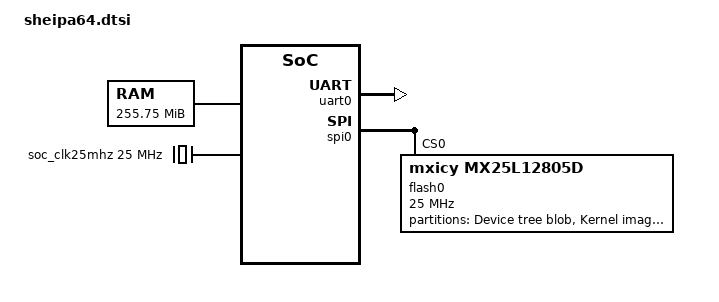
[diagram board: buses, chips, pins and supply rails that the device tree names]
/*
 * Realtek Semiconductor Corp.
 *
 * Device Tree Structure
 *
 * Tony Wu (tonywu@realtek.com)
 */

#include <dt-bindings/interrupt-controller/irq.h>

/ {
	/* skip 256KB memory occupied by sbi firmware */
	memory@80040000 {
		device_type = "memory";
		reg = <0x0 0x80040000 0x0 0xffc0000>;
	};

	clocks {
		soc_clk25mhz: oscillator {
			compatible = "fixed-clock";
			clock-output-names = "clk25mhz";
			clock-frequency = <25000000>;
			#clock-cells = <0>;
		};
	};

	ocp {
		compatible = "sheipa-bus", "simple-bus";
		#address-cells = <2>;
		#size-cells = <2>;
		ranges;

		plic0: interrupt-controller@01001000 {
			compatible = "realtek,plic-1.0.0";
			reg = <0x0 0x01001000 0x0 0x1000>;
			interrupt-controller;
			#interrupt-cells = <1>;
			riscv,ndev=<31>;
		};

		uart0: dwapb@60007000 {
			compatible = "snps,dw-apb-uart";
			reg = <0x0 0x60007000 0x0 0x100>;
			reg-shift = <2>;
			reg-io-width = <1>;
			clock-frequency = <25000000>;
		};

		spi0: spi@60009000 {
			compatible = "realtek,spi-rxi312";
			#address-cells = <1>;
			#size-cells = <0>;
			bus_num = <0>;
			reg = <0x0 0x60009000 0x0 0x200>,
				  <0x0 0x20000000 0x0 0x1000000>;
			clocks = <&soc_clk25mhz>;
			spi-deactivate-delay = <0>;
			spi-max-frequency = <25000000>;
			spi-fifo-size = <64>;
			flash0: flash@0 {
				compatible = "mxicy,mx25l12805d", "mxic,m25p80",
					     "jedec,spi-nor";
				spi-max-frequency = <25000000>;
				reg = <0>;
				mode = <0>;
				spi-num-slaves = <0>;
				spi-fifo-size = <64>;
				spi-baudr-div = <1>;
				spi-rx-bus-width = <4>;
				spi-tx-bus-width = <4>;

				partitions {
					compatible = "fixed-partitions";
					#address-cells = <1>;
					#size-cells = <1>;
					partition@0 {
						label = "Device tree blob";
						reg = <0x40000 0xC0000>; /* 256K-1M */
						read-only;
					};
					partition@1 {
						label = "Kernel image";
						reg = <0x200000 0x600000>; /* 2-8M */
						read-only;
					};
					partition@2 {
						label = "Squashfs filesystem";
						reg = <0x800000 0x700000>; /* 8M-15M */
						read-only;
					};
					partition@3 {
						label = "jffs2 filesystem";
						reg = <0xF00000 0x100000>; /* 15M-16M */
					};
				};
			};
		};

		eth0: rtl8168@70004000 {
			compatible = "realtek,sheipa-r8168", "realtek,r8168";
			reg = <0x0 0x70004000 0x0 0x100>;
			mac-address = "44:77:39:3a:9b:15";
			dma-noncoherent;
			status = "disabled";
		};

		gmac: rtl8139gb@70004000 {
			compatible = "realtek,8139gb";
			reg = <0x0 0x70004000 0x0 0x400>;
			mac-address = "00:81:39:00:00:01";
			status = "disabled";
		};
	};

	pmu {
		compatible = "riscv,sheipa-pmu";
		device_type = "pmu";
	};

/* Create a initramfs region at 0x83000000, and the size is 16MB. */
	chosen {
		bootargs = "console=ttyS0,57600 init=/init earlycon=sbi";
		linux,initrd-start = <0x83000000>;
		linux,initrd-end   = <0x84000000>;
		stdout-path = &uart0;
	};
};
